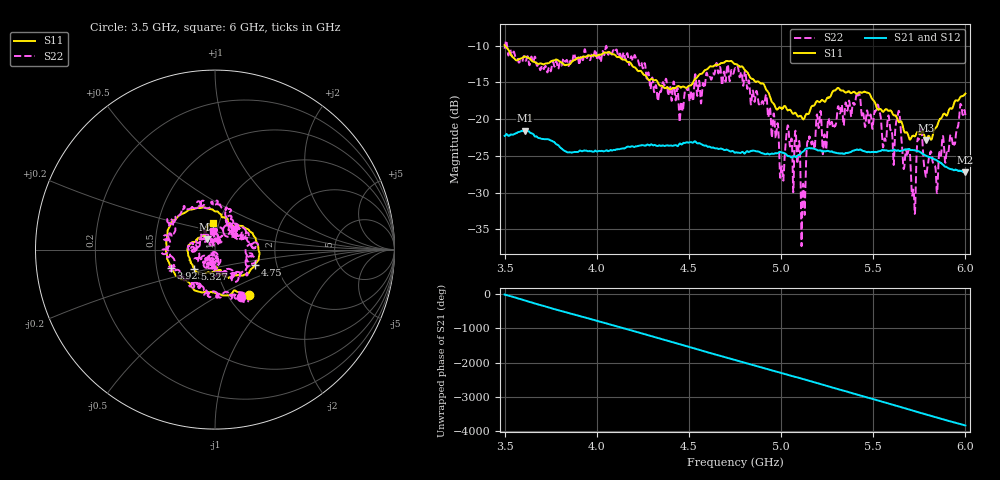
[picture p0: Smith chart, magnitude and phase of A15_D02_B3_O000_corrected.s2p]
! Created with skrf 1.9.0 (http://scikit-rf.org).
# Hz S RI R 50.0
!freq ReS11 ImS11 ReS21 ImS21 ReS12 ImS12 ReS22 ImS22
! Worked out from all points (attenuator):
!   1601 points, 3.5 GHz to 6 GHz, reference 50 ohm
!   highest |S21| = -21.57 dB at 3.611 GHz (marker M1); lowest = -27.2 dB at 6 GHz (marker M2)
!   lowest |S11| = -22.8 dB at 5.786 GHz (marker M3), VSWR 1.16, Z = 45.5 + j5.23 ohm
!   |S11| at or under -10 dB: 3.502 GHz to end of sweep
!   |S22| runs from -37.3 to -9.3 dB; largest |S21 - S12| = 0.0009
!   S11 on the Smith chart (normalised r, x): 3.5 GHz: 1.25, -0.71; 3.925 GHz: 0.59, -0.13; 4.75 GHz: 1.54, -0.28; 5.327 GHz: 0.78, -0.17; 6 GHz: 0.94, +0.29
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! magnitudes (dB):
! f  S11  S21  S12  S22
! 3.5 GHz  -9.9  -22.3  -22.3  -10.4
! 3.611 GHz  -11.5  -21.6  -21.6  -11.8
! 3.917 GHz  -11.6  -24.4  -24.3  -11.4
! 3.925 GHz  -11.5  -24.3  -24.3  -12.0
! 4.213 GHz  -13.1  -23.7  -23.7  -11.8
! 4.334 GHz  -15.2  -23.6  -23.5  -17.2
! 4.458 GHz  -15.7  -23.4  -23.4  -17.8
! 4.75 GHz  -12.5  -24.6  -24.5  -13.1
! 4.928 GHz  -16.2  -24.7  -24.6  -19.4
! 5.005 GHz  -18.5  -24.5  -24.5  -26.4
! 5.034 GHz  -18.8  -25.0  -24.9  -21.0
! 5.088 GHz  -19.5  -25.1  -25.0  -26.1
! 5.119 GHz  -20.0  -24.4  -24.3  -28.8
! 5.147 GHz  -19.3  -24.0  -24.0  -23.1
! 5.167 GHz  -18.2  -24.0  -23.9  -23.4
! 5.327 GHz  -16.1  -24.6  -24.6  -18.1
! 5.584 GHz  -18.9  -24.3  -24.3  -19.5
! 5.638 GHz  -20.4  -24.3  -24.2  -18.9
! 5.717 GHz  -22.2  -24.2  -24.1  -29.6
! 5.752 GHz  -22.0  -24.4  -24.4  -21.8
! 5.786 GHz  -22.8  -25.0  -24.9  -27.8
! 6 GHz  -16.5  -27.2  -27.2  -19.4
